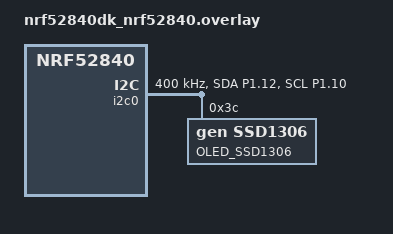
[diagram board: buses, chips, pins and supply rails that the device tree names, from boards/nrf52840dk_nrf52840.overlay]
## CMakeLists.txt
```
#
# Copyright (c) 2020 Nordic Semiconductor ASA
#
# SPDX-License-Identifier: LicenseRef-Nordic-5-Clause
#
cmake_minimum_required(VERSION 3.20.0)

find_package(Zephyr REQUIRED HINTS $ENV{ZEPHYR_BASE})

project(openthread_coap_client_button)

target_sources(app PRIVATE src/coap_client_button.c 
src/coap_client_oled.c 
src/main.c 
src/font_table.c)
target_include_directories(app PRIVATE src)

target_sources_ifdef(CONFIG_BT_NUS app PRIVATE src/ble_utils.c)
target_sources_ifdef(CONFIG_COAP app PRIVATE src/coap_client_utils.c src/coap_list.c)
target_sources_ifdef(CONFIG_FLASH app PRIVATE src/user_nvs.c )
```

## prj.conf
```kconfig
#
# Copyright (c) 2020 Nordic Semiconductor
#
# SPDX-License-Identifier: LicenseRef-Nordic-5-Clause
#
CONFIG_SETTINGS=n
CONFIG_PRINTK=y
CONFIG_LOG=y

CONFIG_GPIO=y
CONFIG_INPUT=y
CONFIG_I2C=y
CONFIG_I2C_NRFX=y
# CONFIG_SERIAL=y
# CONFIG_UART_ASYNC_API=y

# nRF board library
CONFIG_DK_LIBRARY=y

# Enable OpenThread
CONFIG_OPENTHREAD=y

# Enable CoAP utils and CoAP protocol
CONFIG_COAP=y
CONFIG_COAP_UTILS=y

# Generic networking options
CONFIG_NETWORKING=y

# Enable OpenThread CoAP support API
CONFIG_OPENTHREAD_COAP=y

# L2 OpenThread enabling
CONFIG_NET_L2_OPENTHREAD=y

# Network shell
# CONFIG_SHELL=y
# CONFIG_OPENTHREAD_SHELL=y
CONFIG_SHELL_ARGC_MAX=26
CONFIG_SHELL_CMD_BUFF_SIZE=416

# Same network Master Key for client and server
CONFIG_OPENTHREAD_NETWORKKEY="00:11:22:33:44:55:66:77:88:99:aa:bb:cc:dd:ee:ff"
CONFIG_OPENTHREAD_PANID=4660
CONFIG_OPENTHREAD_XPANID="11:11:11:11:22:22:22:22"
CONFIG_OPENTHREAD_CHANNEL=15
CONFIG_MBEDTLS_SHA1_C=n
CONFIG_FPU=y

# Increase main stack size to meet networking requirements
CONFIG_MAIN_STACK_SIZE=4096

# Set product string for USB device
CONFIG_CDC_ACM_SERIAL_PRODUCT_STRING="OpenThread CoAP Client Button"

# Increase Settings storage size
CONFIG_PM_PARTITION_SIZE_SETTINGS_STORAGE=0x4000

# # Network sockets
# # CONFIG_NET_SOCKETS=y
# # CONFIG_ZVFS_POLL_MAX=4

# # # 启用 OpenThread 的 CoAP Secure 支持
# # CONFIG_OPENTHREAD_COAP_SECURE=y
# # # 允许使用预共享密钥 (PSK) 或 X.509 证书
# # CONFIG_OPENTHREAD_MBEDTLS=y
# # # 增加堆栈大小，因为 DTLS 握手比较耗内存
# # CONFIG_SYSTEM_WORKQUEUE_STACK_SIZE=4096

CONFIG_FLASH=y
CONFIG_FLASH_PAGE_LAYOUT=y
CONFIG_FLASH_MAP=y
CONFIG_NVS=y
CONFIG_NORDIC_QSPI_NOR=n
```

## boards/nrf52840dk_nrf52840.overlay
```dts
/* Copyright (c) 2020 Nordic Semiconductor ASA
 *
 * SPDX-License-Identifier: LicenseRef-Nordic-5-Clause
 */
&qspi { 
	status = "disabled"; 
};
/ {
    soc {
        flash-controller@4001e000 {
            flash@0 {
                partitions {
                    /* 1. 先彻底删除旧的存储分区定义，防止残留干扰 */
                    /delete-node/ partition@f8000;
                    /delete-node/ partition@fc000;
                };
            };
        };
    };
};
&pinctrl {
	i2c0_default: i2c0_default {
		group1 {
			psels = <NRF_PSEL(TWIM_SDA, 1, 12)>,
				<NRF_PSEL(TWIM_SCL, 1, 10)>;
		};
	};

	i2c0_sleep: i2c0_sleep {
		group1 {
			psels = <NRF_PSEL(TWIM_SDA, 1, 12)>,
				<NRF_PSEL(TWIM_SCL, 1, 10)>;
			low-power-enable;
		};
	};
};

&flash0 {
    partitions {
        storage_partition: partition@f8000 {
            label = "storage";
            reg = <0x000f8000 0x00004000>; 
        };
		user_storage: partition@fc000 {
            label = "user_storage";
            reg = <0x000fc000 0x00004000>; /* 16KB */
        };
    };
};


&i2c0 {
	compatible = "nordic,nrf-twim";
	status = "okay";
	pinctrl-0 = <&i2c0_default>;
	pinctrl-1 = <&i2c0_sleep>;
	pinctrl-names = "default", "sleep";
	clock-frequency = <400000>;

	gen_oled_ssd1306: gen_oled_ssd1306@3c {
		compatible = "gen,ssd1306";
		reg = <0x3c>;
		label = "OLED_SSD1306";
		status = "okay";
	};
};
```

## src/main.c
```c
#include <stdio.h>
#include <zephyr/device.h>
#include <zephyr/kernel.h>

#include "ble_utils.h"
#include "coap_client_button.h"
#include "coap_client_oled.h"
#include "coap_client_utils.h"
#include "coap_list.h"
#include "includes.h"
#include "user_nvs.h"

struct SYS_TIM_PARAM sys_tim;
static struct k_timer sys_tick_timer_id;
struct k_mutex i2c_mutex;

void sys_tick_timer_handle(struct k_timer* timer)
{
    sys_tim._10ms_counter++;
    if (sys_tim._10ms_counter >= 10) {
        sys_tim._10ms_counter = 0;
        sys_tim._10ms_flag = 1;
        sys_tim._20ms_counter++;
        if (sys_tim._20ms_counter >= 2) {
            sys_tim._20ms_counter = 0;
        }

        sys_tim._100ms_counter++;
        if (sys_tim._100ms_counter >= 100) {
            sys_tim._100ms_counter = 0;

            sys_tim._1min_counter++;
            if (sys_tim._1min_counter >= 60) {
                sys_tim._1min_counter = 0;
                sys_tim._1min_flag = 1;
            }
        }
    }
}

int main(void)
{
    k_mutex_init(&i2c_mutex);
    k_timer_init(&sys_tick_timer_id, sys_tick_timer_handle, NULL);
    k_timer_start(&sys_tick_timer_id, K_MSEC(1), K_MSEC(1));

#if CONFIG_OPENTHREAD
    coap_client_utils_init();
#endif

    init_list_storage();
 
#if CONFIG_BT_NUS
    struct bt_nus_cb nus_clbs = {
        .received = NULL,
        .sent = NULL,
    };

    ret = ble_utils_init(&nus_clbs, on_ble_connect, on_ble_disconnect);
    if (ret) {
        LOG_ERR("Cannot init BLE utilities");
        return 0;
    }

#endif /* CONFIG_BT_NUS */

    poweron_read_param();
    read_oled_light();

    while (1) {
        k_sleep(K_MSEC(1));
    }

    return 0;
}

static void param_init(void)
{
    oled_par.current_index = WELCOME_PAGE;
    oled_par.key_on = 1;
}

void sys_thread(void)
{
    param_init();

    for (;;) {
        k_sleep(K_MSEC(1));
        if (oled_par.current_index == WELCOME_PAGE || oled_par.current_index == MAIN_PAGE) {
            sys_tim._1min_counter = 0;
        }

        if (sys_tim._1min_flag) {
            sys_tim._1min_flag = 0;
            oled_par.key_on = 1;
            oled_par.current_index = MAIN_PAGE;
            clear_oled();
        }
    }
}
K_THREAD_DEFINE(sys_thread_id, 1024, sys_thread, NULL, NULL, NULL, 2, 0, 0);
```

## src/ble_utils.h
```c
/**
 * @file
 * @defgroup ble_utils Bluetooth LE utilities API
 * @{
 */

/*
 * Copyright (c) 2020 Nordic Semiconductor ASA
 *
 * SPDX-License-Identifier: LicenseRef-Nordic-5-Clause
 */

#ifndef __BLE_UTILS_H__
#define __BLE_UTILS_H__

#include <bluetooth/services/nus.h>

typedef void (*ble_connection_cb_t)(struct k_work *item);

typedef void (*ble_disconnection_cb_t)(struct k_work *item);

int ble_utils_init(struct bt_nus_cb *nus_clbs,
		   ble_connection_cb_t on_connect,
		   ble_disconnection_cb_t on_disconnect);

#endif

/**
 * @}
 */
```

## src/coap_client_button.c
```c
/*
 * Copyright (c) 2020 Nordic Semiconductor ASA
 *
 * SPDX-License-Identifier: LicenseRef-Nordic-5-Clause
 */
#include <zephyr/device.h>
#include <zephyr/drivers/gpio.h>
#include <zephyr/kernel.h>
#include <zephyr/input/input.h>

#include "coap_client_oled.h"
#include "coap_client_button.h"
#include "includes.h"
#include <stdio.h>
#include "includes.h"
#include "coap_client_utils.h"

#define ENTER_KEY (0x1)
#define UP_KEY	  (0x8)
#define DOWN_KEY  (0x2)
#define MENU_KEY  (0x4)

#define CT_MAX_VALUE	(0xFF)
#define LIGHT_MAX_VALUE (0xFF)
#define CT_MIN_VALUE	(1)
#define LIGHT_MIN_VALUE (1)

enum KEY_STATE {
	KEY_CHECK = 0, 
	KEY_COMFIRM,   
	KEY_RELEASE,   
}; 

enum KEY_ACTION {
	KEY_NULL = 0,
	KEY_SHORT, 
	KEY_LONG,  
}; 

enum KEY_NAME {
	KEY_ENTER = 0, //
	KEY_UP,	       //
	KEY_DOWN,      //
	KEY_MENU,      //
	KEY_MAX
};

struct _key_op key_op;

static const struct gpio_dt_spec buttons[KEY_MAX] = {
	GPIO_DT_SPEC_GET(DT_ALIAS(sw0), gpios),
	GPIO_DT_SPEC_GET(DT_ALIAS(sw1), gpios),
	GPIO_DT_SPEC_GET(DT_ALIAS(sw2), gpios),
	GPIO_DT_SPEC_GET(DT_ALIAS(sw3), gpios),
};

// 按键处理函数
// 返回按键值
// mode:0,不支持连续按;1,支持连续按;
// 返回值：
// 0，没有任何按键按下
// KEY0_PRES，KEY0按下
// KEY1_PRES，KEY1按下
// WKUP_PRES，WK_UP按下
// 注意此函数有响应优先级,KEY0>KEY1>WK_UP!!
// key_op.state |00|00|00|00|:00->检测  01->确认  10->释放
/** 60ms-200ms之间采集按下的次数6-20次为短按*/
uint8_t key_scan(void)
{
	static uint8_t time_cnt = 0;
	static uint8_t lock = 0;
	uint8_t last_key_bit = 0;
	static uint8_t current_key_bit;
	uint8_t key_bit = 0;
	uint8_t i = 0;

	for (i = 0; i < KEY_MAX; i++) {
		key_bit |= (gpio_pin_get_dt(&buttons[i]) << i);
	}

	switch (key_op.state) {
		// 按键未按下状态，此时判断Key的值
	case KEY_CHECK: // 如果按键Key值为真，说明有按键开始按下，进入下一个状态
		if (key_bit) {
			key_op.state = KEY_COMFIRM;
			current_key_bit = key_bit;
		}
		time_cnt = 0; // 计数复位
		lock = 0;
		break;

	case KEY_COMFIRM: // 查看当前Key是否还是同样的按键，再次确认是否按下
		if (key_bit) {
			last_key_bit = key_bit;
			if (last_key_bit == current_key_bit) {
				if (!lock) {
					lock = 1;
				}

				time_cnt++;

				/*按键时长判断*/
				if (time_cnt > 100) { // 长按 1 s
					key_op.action = KEY_LONG;
					time_cnt = 0;
					lock = 0;		    // 重新检查
					key_op.state = KEY_RELEASE; // 需要进入按键释放状态
				}
			} else {
				key_op.state = KEY_CHECK;
			}
		} else {
			if (lock) {			   // 不是第一次进入，  释放按键才执行
				key_op.action = KEY_SHORT; // 短按
				key_op.state = KEY_RELEASE; // 需要进入按键释放状态
			} else { // 当前Key值为1，确认为抖动，则返回上一个状态
				key_op.state = KEY_CHECK; // 返回上一个状态
			}
		}
		break;

	case KEY_RELEASE: // 当前Key位值全部为0，说明按键已经释放，返回开始状态
		if ((0 == key_bit) || (KEY_LONG == key_op.action)) {
			key_op.state = KEY_CHECK;
		}
		break;

	default:
		break;
	}
	return current_key_bit;
}

void key_status(void)
{
	uint8_t read_key_function = 0; // 读取当前按键功能
	uint8_t flash_data[10] = {0};

	// if (sys_tim._10ms_flag) 
	{
		// sys_tim._10ms_flag = 0;
		read_key_function = key_scan();

		if (KEY_CHECK == key_op.state) {
			if (KEY_SHORT == key_op.action) {
				sys_tim._1min_counter = 0;
				oled_send_cmd(0xAF);
				oled_par.key_on = 1;
				switch (read_key_function) {
				case ENTER_KEY:
					if (FATORY_CONFIRM_PAGE == oled_par.current_index) {
						// Flash_Read(FLASH_SAVE_DATA_ADDR, flash_data,
						// sizeof(flash_data));
						oled_par.distance = 100;
						flash_data[2] = 100;
						oled_par.sensitivity = 50;
						flash_data[3] = 50;
						oled_par.transmitted_power = 100;
						flash_data[4] = 100;
						oled_par.oled_light = 0xEF;
						flash_data[5] = 0xEF;
						oled_par.oled_close_time = 30;
						flash_data[6] = 30;

						// Flash_Write(FLASH_SAVE_DATA_ADDR, flash_data,
						// sizeof(flash_data));
					} else if (SENSOR_PARAM_CONFIRM_PAGE ==
						   oled_par.current_index) {
						// Flash_Read(FLASH_SAVE_DATA_ADDR, flash_data,
						// sizeof(flash_data));
						flash_data[2] = oled_par.distance;
						flash_data[3] = oled_par.sensitivity;
						flash_data[4] = oled_par.transmitted_power;

						// Flash_Write(FLASH_SAVE_DATA_ADDR, flash_data,
						// sizeof(flash_data));
					} else if (OLED_PARAM_CONFIRM_PAGE ==
						   oled_par.current_index) {
						// Flash_Read(FLASH_SAVE_DATA_ADDR, flash_data,
						// sizeof(flash_data));
						flash_data[5] = oled_par.oled_light;
						flash_data[6] = oled_par.oled_close_time;

						// Flash_Write(FLASH_SAVE_DATA_ADDR, flash_data,
						// sizeof(flash_data));

						oled_send_cmd(0x81);
						oled_send_cmd(oled_par.oled_light);
						// g_oled_close_time = oled_par.oled_close_time *
						// 100;
					} else if (SET_PAGE_5 == oled_par.current_index) {
#if CONFIG_OPENTHREAD
						coap_client_send_provisioning_request();
#endif
					}
					oled_par.current_index =
						table_op[oled_par.current_index].enter;
					break;

				case UP_KEY:
					oled_par.current_index =
						table_op[oled_par.current_index].up;
					break;

				case DOWN_KEY:
					if ((SENSOR_PARAM_PAGE_1 <= oled_par.current_index &&
					     oled_par.current_index <= SENSOR_PARAM_PAGE_3) ||
					    (OLED_PARAM_PAGE_1 <= oled_par.current_index &&
					     oled_par.current_index <= OLED_PARAM_PAGE_2)) {
						oled_par.add_flag = 1;
					} else {
						oled_par.current_index =
							table_op[oled_par.current_index].down;
					}
					break;

				case MENU_KEY:
					if (SENSOR_PARAM_CONFIRM_PAGE == oled_par.current_index ||
					    SENSOR_PARAM_PAGE_1 == oled_par.current_index ||
					    SENSOR_PARAM_PAGE_2 == oled_par.current_index ||
					    SENSOR_PARAM_PAGE_3 == oled_par.current_index ||
					    OLED_PARAM_CONFIRM_PAGE == oled_par.current_index ||
					    OLED_PARAM_PAGE_1 == oled_par.current_index ||
					    OLED_PARAM_PAGE_2 == oled_par.current_index) {
						// Flash_Read(FLASH_SAVE_DATA_ADDR, flash_data,
						// sizeof(flash_data));
						oled_par.distance = flash_data[2];
						oled_par.sensitivity = flash_data[3];
						oled_par.transmitted_power = flash_data[4];
						oled_par.oled_light = flash_data[5];
						oled_par.oled_close_time = flash_data[6];
					}
					oled_par.current_index = MAIN_PAGE;
					break;

				default:
					break;
				}
				key_op.action = KEY_NULL;
			} else if (KEY_LONG == key_op.action) { // 长按按键
				key_op.action = KEY_NULL;
			}
		}
	}
}

void key_thread_entry(void *p1, void *p2, void *p3)
{
	uint8_t i = 0;

	for (i = 0; i < sizeof(buttons) / sizeof(buttons[0]); i++) {
		gpio_is_ready_dt(&buttons[i]);
		gpio_pin_configure_dt(&buttons[i], GPIO_INPUT);
	}

	for (;;) {
		k_mutex_lock(&i2c_mutex, K_FOREVER);
		key_status();
		k_mutex_unlock(&i2c_mutex);
		k_msleep(10);
	}
}

K_THREAD_DEFINE(key_tid, 2048, key_thread_entry, NULL, NULL, NULL, 3, 0, 0);
```

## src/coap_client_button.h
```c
#ifndef __COAP_CLIENT_BUTTON_H__
#define __COAP_CLIENT_BUTTON_H__

// void ot_connect_statue(bool statue);
struct _key_op {
    uint8_t state;
    uint8_t action;
};

extern struct _key_op key_op;
#endif
```

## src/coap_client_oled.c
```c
#include <stdint.h>
#include <stdio.h>
#include <zephyr/drivers/i2c.h>
#include <zephyr/kernel.h>

#include "coap_client_button.h"
#include "font_table.h"
#include "coap_client_oled.h"
#include "includes.h"

#define OLED_SSD1306_PRIORITY (5)
#define MAX_COLUMN (128)      // 最大列数
#define MAX_PAGE (64)         // 最大行数 1个page代表8小行所以为 64 / 8
#define MAX_COLUMN_WORDS (8)  // 一行最大显示字数
#define ADJUST_VALUE (30)

#define OLED_SSD1306_NODE DT_NODELABEL(gen_oled_ssd1306)
const struct i2c_dt_spec oled_ssd1306_spec = I2C_DT_SPEC_GET(OLED_SSD1306_NODE);

struct _draw_word_op {
    uint8_t page_offset;
    uint8_t column_offset;
    void* ptr_word;
    uint8_t word_len;
    void (*dram_func)(uint8_t, uint8_t, char*, uint8_t);
};

struct _oled_param oled_par;

void draw_welcom_page(void);
void draw_main_page(void);
void draw_set_page(void);
void draw_sensor_param_page(void);
void draw_oled_param_page(void);
void draw_vision_page(void);
void draw_param_confirm_page(void);
void draw_fatory_confirm_page(void);
void draw_part(uint8_t page_offset, uint8_t column_offset, char* str, uint8_t word_len);
void draw_provisioning_url_page(void);

struct _draw_word_op welcome_page_op[] = {
    // {2, 4, "\xBB\xB6\xD3\xAD\xCA\xB9\xD3\xC3", 4, &draw_part},          // 欢迎使用
    // {5, 3, "\xC7\xEB\xB0\xB4\xC8\xB7\xC8\xCF\xBC\xFC", 5, &draw_part},  // 请按确认键

    {2, 4, "欢迎使用", 4, &draw_part},          // 欢迎使用
    {5, 3, "请按确认键", 5, &draw_part},  // 请按确认键
};

struct _draw_word_op main_page_op[] = {
    // {0, 0, "\xD7\xB4\xCC\xAC", 2, &draw_part},                   // 状态
    // {3, 0, "\xD3\xD0\xC8\xCB\xBE\xE0\xC0\xEB", 4, &draw_part},   // 有人距离
    // {6, 0, "\xCE\xDE\xC8\xCB\xBE\xE0\xC0\xEB", 4, &draw_part},   // 无人距离

    {0, 0, "客厅", 2, &draw_part},                   // 状态
    {3, 0, "房间", 4, &draw_part},   // 有人距离
    {6, 0, "厨房", 4, &draw_part},   // 无人距离
};

struct _draw_word_op set_page1_op[] = {
    // {0, 1, "\xB2\xCE\xCA\xFD\xC9\xE8\xD6\xC3", 4, &draw_part},  // 参数设置
    // {3, 1, "\xC6\xC1\xC4\xBB\xC9\xE8\xD6\xC3", 4, &draw_part},  // 屏幕设置
    // {6, 1, "\xB0\xE6\xB1\xBE", 2, &draw_part},                  // 版本

    {0, 1, "参数设置", 4, &draw_part},  // 参数设置
    {3, 1, "屏幕设置", 4, &draw_part},  // 屏幕设置
    {6, 1, "版本", 2, &draw_part},                  // 版本
};

struct _draw_word_op set_page2_op[] = {
    // {0, 1, "\xBB\xD6\xB8\xB4\xC4\xAC\xC8\xCF", 4, &draw_part},  // 恢复默认

    {0, 1, "恢复默认", 4, &draw_part},  // 恢复默认
    {3, 1, "组网", 2, &draw_part},  // 屏幕设置
};

struct _draw_word_op sensor_param_page_op[] = {
    {0, 1, "距离", 2, &draw_part},                  // 距离
    {3, 1, "灵敏度", 3, &draw_part},          // 灵敏度
    {6, 1, "发射功率", 4, &draw_part},  // 发射功率
};

struct _draw_word_op oled_param_page_op[] = {
    {0, 1, "亮度", 2, &draw_part},                  // 亮度
    {3, 1, "息屏时间", 4, &draw_part},  // 息屏时间
};

struct _draw_word_op param_word_op[] = {
    {0, 7, "没有目标", 4, &draw_part},  // 没有目标
    {0, 7, "运动目标", 4, &draw_part},  // 运动目标
    {0, 7, "静止目标", 4, &draw_part},  // 静止目标
    {0, 7, "运动静止", 4, &draw_part},  // 运动静止
};

struct _table_op table_op[MAX_INDEX] = {
    /* 欢迎菜单 */
    {WELCOME_PAGE, WELCOME_PAGE, WELCOME_PAGE, MAIN_PAGE, WELCOME_PAGE, WELCOME_PAGE, &draw_welcom_page},

    /* 主界面 */
    {MAIN_PAGE, MAIN_PAGE, MAIN_PAGE, SET_PAGE_1, MAIN_PAGE, MAIN_PAGE, &draw_main_page},

    /* 1级菜单 */
    {SET_PAGE_1, SET_PAGE_2, SET_PAGE_5, SENSOR_PARAM_PAGE_1, SET_PAGE_1, SET_PAGE_3, &draw_set_page},
    {SET_PAGE_2, SET_PAGE_3, SET_PAGE_1, OLED_PARAM_PAGE_1, SET_PAGE_1, SET_PAGE_3, &draw_set_page},
    {SET_PAGE_3, SET_PAGE_4, SET_PAGE_2, VISION_PAGE, SET_PAGE_1, SET_PAGE_3, &draw_set_page},
    {SET_PAGE_4, SET_PAGE_5, SET_PAGE_3, FATORY_CONFIRM_PAGE, SET_PAGE_4, SET_PAGE_5, &draw_set_page},
    {SET_PAGE_5, SET_PAGE_1, SET_PAGE_4, PROVISIONING_URL_PAGE, SET_PAGE_4, SET_PAGE_5, &draw_set_page},

    /* 2级菜单 */
    {SENSOR_PARAM_PAGE_1, SENSOR_PARAM_PAGE_2, SENSOR_PARAM_PAGE_1, SENSOR_PARAM_CONFIRM_PAGE, SENSOR_PARAM_PAGE_1,
     SENSOR_PARAM_PAGE_3, &draw_sensor_param_page},
    {SENSOR_PARAM_PAGE_2, SENSOR_PARAM_PAGE_3, SENSOR_PARAM_PAGE_2, SENSOR_PARAM_CONFIRM_PAGE, SENSOR_PARAM_PAGE_1,
     SENSOR_PARAM_PAGE_3, &draw_sensor_param_page},
    {SENSOR_PARAM_PAGE_3, SENSOR_PARAM_PAGE_1, SENSOR_PARAM_PAGE_3, SENSOR_PARAM_CONFIRM_PAGE, SENSOR_PARAM_PAGE_1,
     SENSOR_PARAM_PAGE_3, &draw_sensor_param_page},
    {OLED_PARAM_PAGE_1, OLED_PARAM_PAGE_2, OLED_PARAM_PAGE_1, OLED_PARAM_CONFIRM_PAGE, OLED_PARAM_PAGE_1,
     OLED_PARAM_PAGE_2, &draw_oled_param_page},
    {OLED_PARAM_PAGE_2, OLED_PARAM_PAGE_1, OLED_PARAM_PAGE_2, OLED_PARAM_CONFIRM_PAGE, OLED_PARAM_PAGE_1,
     OLED_PARAM_PAGE_2, &draw_oled_param_page},
    {VISION_PAGE, VISION_PAGE, VISION_PAGE, SET_PAGE_3, VISION_PAGE, VISION_PAGE, &draw_vision_page},
    {PROVISIONING_URL_PAGE, PROVISIONING_URL_PAGE, PROVISIONING_URL_PAGE, SET_PAGE_5, PROVISIONING_URL_PAGE, PROVISIONING_URL_PAGE, &draw_provisioning_url_page},

    /* 确认菜单 */
    {SENSOR_PARAM_CONFIRM_PAGE, SENSOR_PARAM_CONFIRM_PAGE, SENSOR_PARAM_CONFIRM_PAGE, SENSOR_PARAM_PAGE_1,
     SENSOR_PARAM_CONFIRM_PAGE, SENSOR_PARAM_CONFIRM_PAGE, &draw_param_confirm_page},
    {OLED_PARAM_CONFIRM_PAGE, OLED_PARAM_CONFIRM_PAGE, OLED_PARAM_CONFIRM_PAGE, OLED_PARAM_PAGE_1,
     OLED_PARAM_CONFIRM_PAGE, OLED_PARAM_CONFIRM_PAGE, &draw_param_confirm_page},
    {FATORY_CONFIRM_PAGE, FATORY_CONFIRM_PAGE, FATORY_CONFIRM_PAGE, SET_PAGE_4, FATORY_CONFIRM_PAGE,
     FATORY_CONFIRM_PAGE, &draw_fatory_confirm_page},
};

void oled_send_cmd(uint8_t o_command)
{
    uint8_t buf[2] = {0, o_command};

    int ret = i2c_write_dt(&oled_ssd1306_spec, buf, 2);
    if (ret != 0) {
        printk("I2C send cmd failed: %d\n", ret);
    }
}

void oled_send_data(uint8_t* o_data, uint16_t o_len)
{
    uint8_t buf[129] = {0};
    uint8_t i = 0;
    uint8_t total_len = o_len + 1;

    buf[0] = 0x40;
    for (i = 0; i < o_len; i++) {
        buf[i + 1] = o_data[i];
    }

    int ret = i2c_write_dt(&oled_ssd1306_spec, buf, total_len);
    if (ret != 0) {
        printk("I2C send data failed: %d\n", ret);
    }
}

void column_set(uint8_t column)
{
    oled_send_cmd(0x10 | (column >> 4));    // 设置列地址高位
    oled_send_cmd(0x00 | (column & 0x0f));  // 设置列地址低位
}

void page_set(uint8_t page) { oled_send_cmd(0xb0 + page); }

void draw_half_words(uint8_t page_offset, uint8_t column_offset, uint8_t* half_word, uint8_t half_word_num)
{
    uint8_t page, column_word;

    for (column_word = 0; column_word < half_word_num; column_word++) {
        for (page = 0; page < 2; page++) {
            page_set(page + page_offset);
            column_set(8 * column_word + column_offset * 8);
            uint8_t* ptr = half_word + (column_word * 16) + (page * 8);
            oled_send_data(ptr, 8);
        }
    }
    //         }
    //     }
    // }
    // draw_words(page_offset, column_offset, strw, word_len);

    // uint8_t strw[512] = {0};
    // uint16_t i, j;
    // uint8_t *p_str = (uint8_t *)str;
    // uint8_t k = 0;

    // 遍历传入的字符串
}

void draw_words(uint8_t page_offset, uint8_t column_offset, uint8_t* word, uint8_t word_num)
{
    uint8_t page, column_word;

    for (column_word = 0; column_word < word_num; column_word++) {
        for (page = 0; page < 2; page++) {
            page_set(page + page_offset);
            column_set(16 * column_word + column_offset * 8);
            uint8_t* ptr = word + (column_word * 32) + (page * 16);
            oled_send_data(ptr, 16);
        }
    }
}

void clear_oled(void)
{
    uint8_t page, column;
    uint8_t buf[MAX_COLUMN] = {0};

    for (page = 0; page < (MAX_PAGE / 8); page++) {
        page_set(page);
        column_set(0);
        for (column = 0; column < MAX_COLUMN; column++) {
            oled_send_data(buf, 1);
        }
    }
}

void clear_part(uint8_t page_offset, uint8_t column_offset, char* str, uint8_t word_len)
{
    uint8_t strw[512] = {0};
    uint16_t j, k;

    for (k = 0; k < word_len; k++) {
        for (j = 0; j < 32; j++) {
            strw[k * 32 + j] = 0;
        }
    }
    draw_words(page_offset, column_offset, strw, word_len);
}

void clear_half_part(uint8_t page_offset, uint8_t column_offset, char* str, uint8_t word_len)
{
    uint8_t strw[512] = {0};
    uint16_t j, k;

    for (k = 0; k < word_len; k++) {
        for (j = 0; j < 8; j++) {
            strw[k * 8 + j] = 0;
        }
    }
    draw_half_words(page_offset, column_offset, strw, word_len);
}

void draw_part(uint8_t page_offset, uint8_t column_offset, char* str, uint8_t word_len)
{
    // uint8_t strw[512] = {0};
    // uint16_t i, j, k;
    // uint16_t total_words = sizeof(gbk_code) / 2;

    // for (k = 0; k < word_len; k++) {
    //     for (i = 0; i < total_words; i++) {
    //         if (0 == memcmp(str + k * 2, gbk_code + i * 2, 2)) {
    //             for (j = 0; j < 32; j++) {
    //                 strw[k * 32 + j] = font_size_16x16[i * 32 + j];
    //             }
    //         }
    //     }
    // }
    // draw_words(page_offset, column_offset, strw, word_len);

    uint8_t strw[512] = {0};
    uint16_t j;
    uint8_t *p_str = (uint8_t *)str;
    uint8_t k = 0;

    // 遍历传入的字符串
    while (*p_str != '\0' && k < word_len) {
        uint8_t step = 0;
        
        // 判断当前字符占几个字节 (UTF-8 标准)
        if (*p_str < 0x80) step = 1;        // ASCII (不处理，或调用 half_draw)
        else if (*p_str < 0xE0) step = 2;   // 2字节字符
        else if (*p_str < 0xF0) step = 3;   // 3字节汉字 (最常用)
        else step = 4;

        // 在 utf8_code 库中寻找匹配
        uint8_t *p_table = (uint8_t *)utf8_code;
        uint16_t table_idx = 0;
        bool found = false;

        while (*p_table != '\0') {
            // 同样需要判断库里那个字占几字节
            uint8_t t_step = (*p_table < 0xE0) ? 2 : 3; 

            if (step == t_step && memcmp(p_str, p_table, step) == 0) {
                // 找到了，拷贝 16x16 点阵
                for (j = 0; j < 32; j++) {
                    strw[k * 32 + j] = font_size_16x16[table_idx * 32 + j];
                }
                found = true;
                break;
            }
            p_table += t_step;
            table_idx++;
        }

        p_str += step; // 移动到下一个字
        k++;           // 已处理的显示字数
    }
    draw_words(page_offset, column_offset, strw, k);
}

void draw_half_part(uint8_t page_offset, uint8_t column_offset, char* str, uint8_t word_len)
{
    uint8_t strw[512] = {0};
    uint16_t i, j, k;

    for (k = 0; k < word_len; k++) {
        for (i = 0; i < sizeof(utf8_size_8x16_code); i++) {
            if (0 == memcmp(str + k, utf8_size_8x16_code + i, 1)) {
                for (j = 0; j < 16; j++) {
                    strw[k * 16 + j] = font_size_8x16[i * 16 + j];
                }
            }
        }
    }
    draw_half_words(page_offset, column_offset, strw, word_len);
}

void val_to_str(uint16_t data, uint8_t* output_data)
{
    uint8_t value_buf1[4] = {0};
    uint16_t value_buf = 0;
    uint8_t j, i;

    value_buf = data;
    value_buf1[0] = value_buf / 10000;
    value_buf1[1] = value_buf % 1000 / 100;
    value_buf1[2] = value_buf % 100 / 10;
    value_buf1[3] = value_buf % 10;
    for (i = 0; i < 4; i++) {
        for (j = 0; j < 16; j++) {
            output_data[j + i * 16] = font_size_8x16[j + value_buf1[i] * 16];
        }
    }
}

void draw_welcom_page(void)
{
    uint8_t i;

    if (oled_par.pre_index != oled_par.current_index) {
        clear_oled();
    }

    oled_par.pre_index = oled_par.current_index;
    for (i = 0; i < sizeof(welcome_page_op) / sizeof(welcome_page_op[0]); i++) {
        welcome_page_op[i].dram_func(welcome_page_op[i].page_offset, welcome_page_op[i].column_offset,
                                     welcome_page_op[i].ptr_word, welcome_page_op[i].word_len);
    }
}
// uint8_t test_get_buf[30];
void draw_main_page(void)
{
    uint8_t i;
    // uint8_t sta, j;
    // uint8_t oled_num[64] = {0};
    // uint16_t rec_data;

    if (oled_par.pre_index != oled_par.current_index) {
        clear_oled();
    }
    oled_par.pre_index = oled_par.current_index;

    for (i = 0; i < sizeof(main_page_op) / sizeof(main_page_op[0]); i++) {
        main_page_op[i].dram_func(main_page_op[i].page_offset, main_page_op[i].column_offset, main_page_op[i].ptr_word,
                                  main_page_op[i].word_len);
    }
    
    // sta = test_get_buf[2];
    // param_word_op[sta].dram_func(param_word_op[sta].page_offset, param_word_op[sta].column_offset,
    //                              param_word_op[sta].ptr_word, param_word_op[sta].word_len);

    // for (i = 3, j = 3; i < 6; i += 2, j += 3) {
    //     if ((uint16_t)(test_get_buf[i] | test_get_buf[i + 1] << 8) >= ADJUST_VALUE) {
    //         rec_data = (uint16_t)(test_get_buf[i] | test_get_buf[i + 1] << 8) - ADJUST_VALUE;
    //     } else {
    //         rec_data = 0;
    //     }
    //     val_to_str(rec_data, oled_num);
    //     draw_half_words(j, 9, oled_num, 4);
    // }
}

void draw_set_page(void)
{
    uint8_t i;
    uint8_t min_page, max_page;
    uint8_t len = 0;
    struct _draw_word_op* set_page_op = NULL;

    min_page = table_op[oled_par.current_index].min_page;
    max_page = table_op[oled_par.current_index].max_page;

    if (SET_PAGE_1 == min_page) {
        len = sizeof(set_page1_op) / sizeof(set_page1_op[0]);
        set_page_op = set_page1_op;
    } else if (SET_PAGE_4 == min_page) {
        len = sizeof(set_page2_op) / sizeof(set_page2_op[0]);
        set_page_op = set_page2_op;
    }

    if ((oled_par.pre_index < min_page) || (oled_par.pre_index > max_page)) {
        clear_oled();
    }
    oled_par.pre_index = oled_par.current_index;

    for (i = 0; i < len * 2 + 1; i += 3) {
        clear_half_part(i, 0, 0, 1);
    }

    draw_half_part((oled_par.current_index - min_page) * 3, 0, ">", 1);

    for (i = 0; i < len; i++) {
        set_page_op[i].dram_func(set_page_op[i].page_offset, set_page_op[i].column_offset, set_page_op[i].ptr_word,
                                 set_page_op[i].word_len);
    }
}

void draw_sensor_param_page(void)
{
    uint8_t i;
    uint8_t oled_num[64] = {0};

    if ((oled_par.pre_index < SENSOR_PARAM_PAGE_1) || (oled_par.pre_index > SENSOR_PARAM_PAGE_3)) {
        clear_oled();
    }
    oled_par.pre_index = oled_par.current_index;

    for (i = 0; i < sizeof(sensor_param_page_op) / sizeof(sensor_param_page_op[0]) * 2 + 1; i += 3) {
        if (((oled_par.current_index - SENSOR_PARAM_PAGE_1) * 3) != i) {
            clear_half_part(i, 0, 0, 1);
        }
    }

    draw_half_part((oled_par.current_index - SENSOR_PARAM_PAGE_1) * 3, 0, ">", 1);
    for (i = 0; i < sizeof(sensor_param_page_op) / sizeof(sensor_param_page_op[0]); i++) {
        sensor_param_page_op[i].dram_func(sensor_param_page_op[i].page_offset, sensor_param_page_op[i].column_offset,
                                          sensor_param_page_op[i].ptr_word, sensor_param_page_op[i].word_len);
    }

    if (oled_par.add_flag) {
        switch (oled_par.current_index) {
        case SENSOR_PARAM_PAGE_1:
            oled_par.distance++;
            if (200 <= oled_par.distance) {
                oled_par.distance = 0;
            }
            break;

        case SENSOR_PARAM_PAGE_2:
            oled_par.sensitivity++;
            if (100 <= oled_par.sensitivity) {
                oled_par.sensitivity = 0;
            }
            break;

        case SENSOR_PARAM_PAGE_3:
            oled_par.transmitted_power++;
            if (200 <= oled_par.transmitted_power) {
                oled_par.transmitted_power = 0;
            }
            break;

        default:
            break;
        }
        oled_par.add_flag = 0;
    }

    val_to_str(oled_par.distance, oled_num);
    draw_half_words(0, 10, oled_num, 4);
    val_to_str(oled_par.sensitivity, oled_num);
    draw_half_words(3, 10, oled_num, 4);
    val_to_str(oled_par.transmitted_power, oled_num);
    draw_half_words(6, 10, oled_num, 4);
}

void draw_oled_param_page(void)
{
    uint8_t i;
    uint8_t oled_num[64] = {0};

    if ((oled_par.pre_index < OLED_PARAM_PAGE_1) || (oled_par.pre_index > OLED_PARAM_PAGE_2)) {
        clear_oled();
    }

    oled_par.pre_index = oled_par.current_index;

    for (i = 0; i < (sizeof(oled_param_page_op) / sizeof(oled_param_page_op[0])) * 2 + 1; i += 3) {
        if (((oled_par.current_index - OLED_PARAM_PAGE_1) * 3) != i) {
            clear_half_part(i, 0, 0, 1);
        }
    }

    draw_half_part((oled_par.current_index - OLED_PARAM_PAGE_1) * 3, 0, ">", 1);
    for (i = 0; i < sizeof(oled_param_page_op) / sizeof(oled_param_page_op[0]); i++) {
        oled_param_page_op[i].dram_func(oled_param_page_op[i].page_offset, oled_param_page_op[i].column_offset,
                                        oled_param_page_op[i].ptr_word, oled_param_page_op[i].word_len);
    }

    if (oled_par.add_flag) {
        switch (oled_par.current_index) {
        case OLED_PARAM_PAGE_1:
            oled_par.oled_light++;
            if (255 <= oled_par.oled_light) {
                oled_par.oled_light = 0;
            }
            break;

        case OLED_PARAM_PAGE_2:
            oled_par.oled_close_time++;
            if (999 <= oled_par.oled_close_time) {
                oled_par.oled_close_time = 0;
            }
            break;

        default:
            break;
        }
        oled_par.add_flag = 0;
    }

    val_to_str(oled_par.oled_light, oled_num);
    draw_half_words(0, 10, oled_num, 4);
    val_to_str(oled_par.oled_close_time, oled_num);
    draw_half_words(3, 10, oled_num, 4);
}

void draw_vision_page(void)
{
    if (oled_par.pre_index != oled_par.current_index) {
        clear_oled();
    }

    oled_par.pre_index = oled_par.current_index;
    // draw_part(3, 2, "\xB0\xE6\xB1\xBE\xBA\xC5", 3);  // 版本号
    draw_part(3, 2, "版本号", 3);
    draw_half_part(3, 8, ":V1.0", 5);
}

void draw_provisioning_url_page(void)
{
    if (oled_par.pre_index != oled_par.current_index) {
        clear_oled();
    }

    oled_par.pre_index = oled_par.current_index;
    draw_part(3, 2, "组网中", 3);  
    draw_half_part(3, 8, "...", 3);
}

void draw_param_confirm_page(void)
{
    if (oled_par.pre_index != oled_par.current_index) {
        clear_oled();
    }

    oled_par.pre_index = oled_par.current_index;
    // draw_part(3, 2, "\xC8\xB7\xB6\xA8\xB8\xFC\xB8\xC4\xB2\xCE\xCA\xFD", 6);  // 确定更改参数
    draw_part(3, 2, "确定更改参数", 6);
    draw_half_part(3, 14, "?", 1);
}

void draw_fatory_confirm_page(void)
{
    if (oled_par.pre_index != oled_par.current_index) {
        clear_oled();
    }

    oled_par.pre_index = oled_par.current_index;
    // draw_part(3, 2, "\xC8\xB7\xC8\xCF\xBB\xD6\xB8\xB4\xC4\xAC\xC8\xCF", 6);  // 确认恢复默认
    draw_part(3, 2, "确认恢复默认", 6);  // 确认恢复默认
    draw_half_part(3, 14, "?", 1);
}

void oled_init(void)
{
    uint8_t i;
    const uint8_t oled_init_cmd[25] = {
        0xAE,  // 关闭显示
        0xD5,  // 设置时钟分频因子,震荡频率
        0x80,  //[3:0],分频因子;[7:4],震荡频率
        0xA8,  // 设置驱动路数
        0X3F,  // 默认0X3F(1/64)
        0xD3,  // 设置显示偏移
        0X00,  // 默认为0
        0x40,  // 设置显示开始行 [5:0],行数.
        0x8D,  // 电荷泵设置
        0x14,  // bit2，开启/关闭
        0x20,  // 设置内存地址模式
        0x02,  //[1:0],00，列地址模式;01，行地址模式;10,页地址模式;默认10;
        0xA1,  // 段重定义设置,bit0:0,0->0;1,0->127;
        0xC8,  // 设置COM扫描方向;bit3:0,普通模式;1,重定义模式 COM[N-1]->COM0;N:驱动路数
        0xDA,  // 设置COM硬件引脚配置
        0x12,  //[5:4]配置
        0x81,  // 对比度设置
        0xEF,  // 1~255;默认0X7F (亮度设置,越大越亮)
        0xD9,  // 设置预充电周期
        0xf1,  //[3:0],PHASE 1;[7:4],PHASE 2;
        0xDB,  // 设置VCOMH 电压倍率
        0x30,  //[6:4] 000,0.65*vcc;001,0.77*vcc;011,0.83*vcc;
        0xA4,  // 全局显示开启;bit0:1,开启;0,关闭;(白屏/黑屏)
        0xA6,  // 设置显示方式;bit0:1,反相显示;0,正常显示
        0xAF,  // 开启显示
    };

    for (i = 0; i < 25; i++) {
        oled_send_cmd(oled_init_cmd[i]);
    }

    clear_oled();
}

void oled_thread(void)
{
    if (!i2c_is_ready_dt(&oled_ssd1306_spec)) {
        printk("hrbo not ready\n");
        return;
    }

    oled_init();

    for (;;) {
        k_mutex_lock(&i2c_mutex, K_FOREVER);
        if (oled_par.key_on) {
            oled_par.key_on = 0;
            table_op[oled_par.current_index].table_operation();
        }
        k_mutex_unlock(&i2c_mutex);
        k_msleep(50);
    }
}
K_THREAD_DEFINE(oled_thread_id, 2048, oled_thread, NULL, NULL, NULL, 3, 0, 0);
```

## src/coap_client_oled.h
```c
#ifndef __COAP_CLIENT_OLED_H__
#define __COAP_CLIENT_OLED_H__

enum TABLE_INDEX {
    WELCOME_PAGE = 0,
    MAIN_PAGE,
    SET_PAGE_1,
    SET_PAGE_2,
    SET_PAGE_3,
    SET_PAGE_4,
    SET_PAGE_5,
    SENSOR_PARAM_PAGE_1,
    SENSOR_PARAM_PAGE_2,
    SENSOR_PARAM_PAGE_3,
    OLED_PARAM_PAGE_1,
    OLED_PARAM_PAGE_2,
    VISION_PAGE,
    PROVISIONING_URL_PAGE,
    SENSOR_PARAM_CONFIRM_PAGE,
    OLED_PARAM_CONFIRM_PAGE,
    FATORY_CONFIRM_PAGE,
    
    MAX_INDEX,
};
struct _oled_param {
    uint16_t oled_close_time;
    uint8_t distance;
    uint8_t sensitivity;
    uint8_t transmitted_power;
    uint8_t oled_light;
    uint8_t current_index;
    uint8_t pre_index;
    uint8_t key_on;
    uint8_t add_flag;
};
extern struct _oled_param oled_par;
struct _table_op {
    uint8_t current;
    uint8_t up;
    uint8_t down;
    uint8_t enter;
    uint8_t min_page;
    uint8_t max_page;
    void (*table_operation)();
};

extern struct _table_op table_op[MAX_INDEX];

void clear_oled(void);
void oled_send_cmd(uint8_t o_command);
#endif
```

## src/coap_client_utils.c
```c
/*
 * Copyright (c) 2020 Nordic Semiconductor ASA
 *
 * SPDX-License-Identifier: LicenseRef-Nordic-5-Clause
 */
#include <zephyr/device.h>
#include <zephyr/drivers/gpio.h>
#include <net/coap_utils.h>
#include <openthread.h>
#include <openthread/coap.h>
#include <openthread/thread.h>
#include <zephyr/kernel.h>
#include <zephyr/logging/log.h>
#include <zephyr/net/socket.h>

#include "coap_client_button.h"

LOG_MODULE_REGISTER(coap_client_utils, CONFIG_COAP_CLIENT_UTILS_LOG_LEVEL);

#define COAP_PORT 5683
#define PROVISIONING_URI_PATH "provisioning"
#define COAP_CLIENT_WORKQ_STACK_SIZE 2048
#define COAP_CLIENT_WORKQ_PRIORITY   5

K_THREAD_STACK_DEFINE(coap_client_workq_stack_area, COAP_CLIENT_WORKQ_STACK_SIZE);
static struct k_work_q coap_client_workq;
static struct k_work provisioning_work;

static const struct gpio_dt_spec leds[] = {
    GPIO_DT_SPEC_GET(DT_ALIAS(led0), gpios),
    GPIO_DT_SPEC_GET(DT_ALIAS(led1), gpios),
    GPIO_DT_SPEC_GET(DT_ALIAS(led2), gpios),
    GPIO_DT_SPEC_GET(DT_ALIAS(led3), gpios),
};

struct server_context {
    struct otInstance* ot;
};

static struct server_context srv_context = {
    .ot = NULL,
};

enum light_command {
    THREAD_COAP_UTILS_LIGHT_0_CMD_TOGGLE = '0',
};

void send_provisioning_request(struct k_work* item)
{
    otError error = OT_ERROR_NONE;
    otMessage* message = NULL;
    otMessageInfo messageInfo;

    printf("send_provisioning_request");
    memset(&messageInfo, 0, sizeof(messageInfo));
    otIp6AddressFromString("ff03::1", &messageInfo.mPeerAddr);
    messageInfo.mPeerPort = COAP_PORT;

    message = otCoapNewMessage(srv_context.ot, NULL);
    if (message == NULL) {
        goto exit;
    }

    otCoapMessageInit(message, OT_COAP_TYPE_NON_CONFIRMABLE, OT_COAP_CODE_POST);

    error = otCoapMessageAppendUriPathOptions(message, PROVISIONING_URI_PATH);
    if (error != OT_ERROR_NONE) {
        goto exit;
    }

    otCoapMessageSetPayloadMarker(message);
    uint8_t command = THREAD_COAP_UTILS_LIGHT_0_CMD_TOGGLE;
    error = otMessageAppend(message, &command, sizeof(command));
    if (error != OT_ERROR_NONE) {
        goto exit;
    }

    error = otCoapSendRequest(srv_context.ot, message, &messageInfo, NULL, NULL);

exit:
    if (error != OT_ERROR_NONE && message != NULL) {
        otMessageFree(message);
        LOG_ERR("Failed to send CoAP request: %d", error);
    } else {
        LOG_INF("CoAP multicast request sent successfully");
    }
}

static void on_thread_state_changed(otChangedFlags flags, void* user_data)
{
    if (flags & OT_CHANGED_THREAD_ROLE) {
        switch (otThreadGetDeviceRole(srv_context.ot)) {
        case OT_DEVICE_ROLE_CHILD:
        case OT_DEVICE_ROLE_ROUTER:
        case OT_DEVICE_ROLE_LEADER:
            break;

        case OT_DEVICE_ROLE_DISABLED:
        case OT_DEVICE_ROLE_DETACHED:
        default:
            break;
        }
    }
}
static struct openthread_state_changed_callback ot_state_chaged_cb = {.otCallback = on_thread_state_changed};

int coap_client_utils_init(void)
{
    otError error;
    int ret = 0;

    srv_context.ot = openthread_get_default_instance();

    // for (int i = 0; i < 4; i++) {
    //     if (!gpio_is_ready_dt(&leds[i])) {
    //         return 0;
    //     }

    //     ret = gpio_pin_configure_dt(&leds[i], GPIO_OUTPUT_ACTIVE);
    //     if (ret < 0) {
    //         return 0;
    //     }
    // }

    if (!srv_context.ot) {
        LOG_ERR("There is no valid OpenThread instance");
        error = OT_ERROR_FAILED;
        goto end;
    }

    error = otCoapStart(srv_context.ot, COAP_PORT);
    if (error != OT_ERROR_NONE) {
        LOG_ERR("Failed to start OT CoAP. Error: %d", error);
        goto end;
    }

	// k_work_queue_init(&coap_client_workq);

	// k_work_queue_start(&coap_client_workq, coap_client_workq_stack_area,
	// 		   K_THREAD_STACK_SIZEOF(coap_client_workq_stack_area),
	// 		   COAP_CLIENT_WORKQ_PRIORITY, NULL);

	// k_work_init(&provisioning_work, send_provisioning_request);

    openthread_state_changed_callback_register(&ot_state_chaged_cb);
    openthread_run();

end:
    return error == OT_ERROR_NONE ? 0 : 1;
}

static void submit_work_if_connected(struct k_work *work)
{
	if (1) {
		k_work_submit_to_queue(&coap_client_workq, work);
	} else {
		LOG_INF("Connection is broken");
	}
}

void coap_client_send_provisioning_request(void)
{
	submit_work_if_connected(&provisioning_work);
}
```

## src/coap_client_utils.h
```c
/**
 * @file
 * @defgroup coap_client_utils API for coap_client_* samples
 * @{
 */

/*
 * Copyright (c) 2020 Nordic Semiconductor ASA
 *
 * SPDX-License-Identifier: LicenseRef-Nordic-5-Clause
 */

#ifndef __COAP_CLIENT_UTILS_H__
#define __COAP_CLIENT_UTILS_H__

typedef void (*mtd_mode_toggle_cb_t)(uint32_t val);

int coap_client_utils_init(void);

void toggle_mesh_light_0(struct k_work* item);
void toggle_minimal_sleepy_end_device(struct k_work* item);
void update_device_state(void);
void coap_client_send_provisioning_request(void);
#endif

/**
 * @}
 */
```

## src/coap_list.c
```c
// #include <zephyr/drivers/flash.h>
// #include <zephyr/net/net_ip.h>
// #include <zephyr/storage/stream/nvs.h>

// #define NVS_PARTITION_ID FIXED_PARTITION_ID(storage_partition)
// #define LIST_STORAGE_ID 1
// #define MAX_LIST_ENTRIES 100

// // 定义名单条目
// struct device_entry {
//     struct in6_addr addr;  // 存储 IPv6 地址
//     bool is_whitelisted;   // true 为白名单，false 为黑名单
//     bool is_active;        // 槽位是否在使用
// };

// static struct nvs_fs fs;
// static struct device_entry device_list[MAX_LIST_ENTRIES];

// // 初始化 NVS 存储
// int init_list_storage(void)
// {
//     struct flash_pages_info info;
//     fs.flash_device = DEVICE_DT_GET(DT_CHOSEN(zephyr_flash_controller));
//     fs.offset = DT_REG_ADDR(DT_NODE_BY_FIXED_PARTITION_ID(NVS_PARTITION_ID));
//     flash_get_page_info_by_offs(fs.flash_device, fs.offset, &info);
//     fs.sector_size = info.size;
//     fs.sector_count = 3;

//     return nvs_mount(&fs);
// }

// /**
//  * @brief 校验地址是否允许操作
//  * @return 1: 白名单通过, -1: 黑名单拦截, 0: 未知设备
//  */
// int check_address_auth(const struct in6_addr* src_addr)
// {
//     for (int i = 0; i < MAX_LIST_ENTRIES; i++) {
//         if (device_list[i].is_active && net_ipv6_addr_cmp(&device_list[i].addr, src_addr)) {
//             return device_list[i].is_whitelisted ? 1 : -1;
//         }
//     }
//     return 0;  // 未定义设备
// }

// void send_light_control(struct in6_addr* target_ip, uint8_t action)
// {
//     // 权限检查
//     int auth_status = check_address_auth(target_ip);

//     if (auth_status == -1) {
//         LOG_ERR("Target is in Blacklist! Access Denied.");
//         return;
//     } else if (auth_status == 0) {
//         LOG_WRN("Unknown device, proceeding with caution...");
//         // 这里可以选择是否允许控制未知设备
//     }

//     // 正常的 CoAP 构建与发送逻辑
//     struct coap_packet request;
//     // ... coap_packet_init ...
//     // ... sendto ...
//     LOG_INF("Command sent to whitelisted device.");
// }

// int add_to_list(struct in6_addr* new_addr, bool whitelist)
// {
//     for (int i = 0; i < MAX_LIST_ENTRIES; i++) {
//         if (!device_list[i].is_active) {
//             memcpy(&device_list[i].addr, new_addr, sizeof(struct in6_addr));
//             device_list[i].is_whitelisted = whitelist;
//             device_list[i].is_active = true;

//             // 持久化到 Flash
//             nvs_write(&fs, LIST_STORAGE_ID, &device_list, sizeof(device_list));
//             return 0;
//         }
//     }
//     return -ENOMEM;  // 名单已满
// }

// void get_mac_from_ip(struct in6_addr* ip_addr)
// {
//     struct otInstance* instance = openthread_get_default_instance();
//     otNeighborInfo info;
//     otNeighborInfoIterator iter = OT_NEIGHBOR_INFO_ITERATOR_INIT;

//     // 遍历邻居表
//     while (otThreadGetNextNeighborInfo(instance, &iter, &info) == OT_ERROR_NONE) {
//         // 将邻居的 IPv6 地址与目标进行比对（这里需要额外逻辑匹配地址）
//         // 如果匹配成功，info.mExtAddress 就是你要的 MAC 地址
//         LOG_INF("Neighbor MAC: %02x:%02x:%02x:%02x:%02x:%02x:%02x:%02x", info.mExtAddress.m8[0],
//         info.mExtAddress.m8[1],
//                 info.mExtAddress.m8[7]);
//     }
// }

// void local_my_mac(void)
// {
//     struct otInstance* instance = openthread_get_default_instance();
//     const otExtAddress* extAddr = otLinkGetExtendedAddress(instance);
//     // 这里的 extAddr 就是本机的 8 字节 MAC
// }

// #include <openthread/link.h>
// #include <openthread/thread.h>
// #include <zephyr/net/openthread.h>

// void send_announcement_to_panel(void)
// {
//     struct otInstance* instance = openthread_get_default_instance();

//     // 1. 获取本地 8 字节 Extended MAC 地址
//     const otExtAddress* extAddr = otLinkGetExtendedAddress(instance);

//     // 2. 构造 Payload (简单二进制格式或 JSON)
//     // 格式：[MAC(8字节)] + [DeviceType(1字节)]
//     uint8_t payload[9];
//     memcpy(payload, extAddr->m8, 8);
//     payload[8] = 0x01;  // 假设 0x01 代表照明设备

//     // 3. 发送 CoAP POST 到面板的单播地址或多播地址
//     // 如果不知道面板 IP，可以发到 ff03::1 (Mesh-local all nodes)
//     struct coap_packet request;
//     // ... 标准 CoAP 初始化与发送 ...
// }

// static int register_res_handler(struct coap_resource* resource, struct coap_packet* request, struct sockaddr* from,
//                                 socklen_t addrlen)
// {
//     uint8_t payload[16];
//     uint16_t payload_len;
//     const uint8_t* data;

//     data = coap_packet_get_payload(request, &payload_len);

//     if (payload_len >= 8) {
//         // 1. 获取发送者的 IP 地址 (从底层网络信息获取)
//         char ip_str[INET6_ADDRSTRLEN];
//         net_addr_ntop(AF_INET6, &net_sin6(from)->sin6_addr, ip_str, sizeof(ip_str));

//         // 2. 提取 MAC 地址 (从 Payload 获取)
//         LOG_INF("New Device Registered:");
//         LOG_INF("  IP: %s", ip_str);
//         LOG_INF("  MAC: %02x%02x%02x%02x%02x%02x%02x%02x", data[0], data[1], data[2], data[3], data[4], data[5],
//                 data[6], data[7]);

//         // 3. 将其存入白名单数组或 NVS 闪存
//         add_to_list(&net_sin6(from)->sin6_addr, data);
//     }

//     return coap_reply_ack(resource, request, from, addrlen);
// }

// #include <zephyr/net/net_ip.h>

// #define MAX_DEV_COUNT 100
// #define NVS_ID_WHITELIST 1
// #define NVS_PARTITION_ID FIXED_PARTITION_ID(storage_partition)
// #define LIST_STORAGE_ID 1
// #define MAX_LIST_ENTRIES 100
// bool search_addr_timer_flag = 1;
// struct device_entry {
//     uint8_t mac[8];        // 固定的 MAC 地址 (Extended Address)
//     struct in6_addr ipv6;  // 动态的 IPv6 地址
//     bool is_active;        // 是否在名单中
// };

// // 内存中的副本，用于快速查询
// static struct device_entry whitelist[MAX_DEV_COUNT];
// static struct nvs_fs fs;

// /**
//  * @brief 更新或添加设备到白名单
//  * @param mac 设备的 8 字节 MAC
//  * @param new_ip 设备的当前 IPv6 地址
//  */
// void update_whitelist(const uint8_t* mac, const struct in6_addr* new_ip)
// {
//     int empty_slot = -1;

//     for (int i = 0; i < MAX_DEV_COUNT; i++) {
//         // 1. 匹配 MAC 地址
//         if (whitelist[i].is_active && memcmp(whitelist[i].mac, mac, 8) == 0) {
//             // 如果 IP 变了，更新它
//             if (!net_ipv6_addr_cmp(&whitelist[i].ipv6, new_ip)) {
//                 memcpy(&whitelist[i].ipv6, new_ip, sizeof(struct in6_addr));
//                 nvs_write(&fs, NVS_ID_WHITELIST, &whitelist, sizeof(whitelist));
//                 printk("Updated IP for MAC %02x...\n", mac[0]);
//             }
//             return;
//         }
//         if (!whitelist[i].is_active && empty_slot == -1) {
//             empty_slot = i;
//         }
//     }

//     // 2. 如果是新设备且有空位，则添加
//     if (empty_slot != -1) {
//         whitelist[empty_slot].is_active = true;
//         memcpy(whitelist[empty_slot].mac, mac, 8);
//         memcpy(whitelist[empty_slot].ipv6, new_ip, sizeof(struct in6_addr));

//         nvs_write(&fs, NVS_ID_WHITELIST, &whitelist, sizeof(whitelist));
//         printk("Added new device to whitelist.\n");
//     }
// }
// static int register_handler(struct coap_resource* res, struct coap_packet* pkt, struct sockaddr* from,
//                             socklen_t addrlen)
// {
//     uint16_t len;
//     const uint8_t* payload = coap_packet_get_payload(pkt, &len);

//     // 假设 Payload 前 8 字节是 MAC 地址
//     if (len >= 8 && from->sa_family == AF_INET6) {
//         struct sockaddr_in6* addr6 = (struct sockaddr_in6*)from;

//         // 调用更新逻辑
//         update_whitelist(payload, &addr6->sin6_addr);
//     }

//     return coap_reply_ack(res, pkt, from, addrlen);
// }

// bool is_authorized(const struct in6_addr* target_ip)
// {
//     for (int i = 0; i < MAX_DEV_COUNT; i++) {
//         if (whitelist[i].is_active && net_ipv6_addr_cmp(&whitelist[i].ipv6, target_ip)) {
//             return true;
//         }
//     }
//     return false;
// }

// static int on_provisioning_reply(const struct coap_packet* response, struct coap_reply* reply,
//                                  const struct sockaddr* from)
// {
//     int ret = 0;
//     const uint8_t* payload;
//     uint16_t payload_size = 0u;

//     ARG_UNUSED(reply);
//     ARG_UNUSED(from);

//     payload = coap_packet_get_payload(response, &payload_size);

//     if (payload == NULL || payload_size != sizeof(unique_local_addr.sin6_addr)) {
//         LOG_ERR("Received data is invalid");
//         ret = -EINVAL;
//         goto exit;
//     }

//     memcpy(&unique_local_addr.sin6_addr, payload, payload_size);

//     if (!zsock_inet_ntop(AF_INET6, payload, unique_local_addr_str, INET6_ADDRSTRLEN)) {
//         LOG_ERR("Received data is not IPv6 address: %d", errno);
//         ret = -errno;
//         goto exit;
//     }

//     LOG_INF("Received peer address: %s", unique_local_addr_str);

// exit:
//     if (IS_ENABLED(CONFIG_OPENTHREAD_MTD_SED)) {
//         poll_period_restore();
//     }

//     return ret;
// }

// static void send_provisioning_request(struct k_work* item)
// {
//     ARG_UNUSED(item);

//     if (IS_ENABLED(CONFIG_OPENTHREAD_MTD_SED)) {
//         /* decrease the polling period for higher responsiveness */
//         poll_period_response_set();
//     }

//     LOG_INF("Send 'provisioning' request");

//     coap_send_request(COAP_METHOD_GET, (const struct sockaddr*)&multicast_local_addr, provisioning_option, NULL, 0u,
//                       on_provisioning_reply);
// }

// void search_addr_handle(void)
// {
//     k_timer_stop(&search_addr_timer);
//     k_timer_stop(&send_provisioning_request_timer);
// }

// void list_thread(void)
// {
//     k_timer_start(&search_addr_timer, K_MSEC(180000), K_NO_WAIT);
//     k_timer_start(&send_provisioning_request_timer, K_MSEC(1000), K_NO_WAIT);
//     for (;;) {
//         if (setting_flag == 1) {
//             if (setting_ok_flag == 1) {
//             }
//         }
//     }
// }
// K_TIMER_DEFINE(search_addr_timer, search_addr_handle, NULL);
// K_TIMER_DEFINE(send_provisioning_request_timer, send_provisioning_request, NULL);
// K_THREAD_DEFINE(list_thread_id, 1024, list_thread, NULL, NULL, NULL, LIST_PRIORITY);
```

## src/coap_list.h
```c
#ifndef __COAP_LIST_H__
#define __COAP_LIST_H__

#include <stdint.h>
// int init_list_storage(void);

#endif
```

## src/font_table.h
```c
#ifndef __FONT_TABLE_H__
#define __FONT_TABLE_H__

#define GBK_LEN (100)

extern const uint8_t font_size_8x16[];
extern const uint8_t font_size_16x16[];
// extern const uint8_t gbk_size_8x16_code[100];
// extern const uint8_t gbk_code[GBK_LEN];
extern const uint8_t utf8_size_8x16_code[100];
extern const uint8_t utf8_code[];
#endif
```
